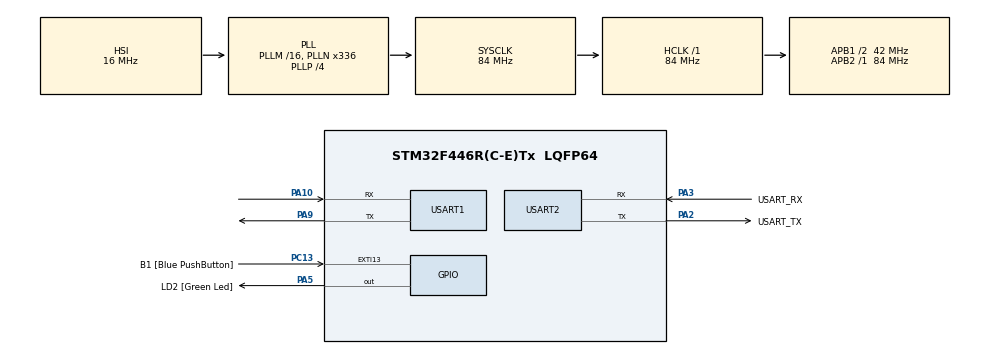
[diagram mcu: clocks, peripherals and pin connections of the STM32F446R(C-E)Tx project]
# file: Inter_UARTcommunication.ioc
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Mcu.Family=STM32F4
Mcu.Name=STM32F446R(C-E)Tx
Mcu.Package=LQFP64
NVIC.PriorityGroup=NVIC_PRIORITYGROUP_0
NVIC.USART1_IRQn=true\:0\:0\:false\:false\:true\:true\:true\:true
NVIC.USART2_IRQn=true\:0\:0\:false\:false\:true\:true\:true\:true
PA10.Mode=Asynchronous
PA10.Signal=USART1_RX
PA13.GPIO_Label=TMS
PA13.Mode=Serial_Wire
PA13.Signal=SYS_JTMS-SWDIO
PA14.GPIO_Label=TCK
PA14.Mode=Serial_Wire
PA14.Signal=SYS_JTCK-SWCLK
PA2.GPIO_Label=USART_TX
PA2.Mode=Asynchronous
PA2.Signal=USART2_TX
PA3.GPIO_Label=USART_RX
PA3.Mode=Asynchronous
PA3.Signal=USART2_RX
PA5.GPIO_Label=LD2 [Green Led]
PA5.Signal=GPIO_Output
PA9.Mode=Asynchronous
PA9.Signal=USART1_TX
PB3.GPIO_Label=SWO
PB3.Signal=SYS_JTDO-SWO
PC13.GPIO_Label=B1 [Blue PushButton]
PC13.GPIO_ModeDefaultEXTI=GPIO_MODE_IT_FALLING
PC13.Signal=GPXTI13
PC14-OSC32_IN.Mode=LSE-External-Oscillator
PC14-OSC32_IN.Signal=RCC_OSC32_IN
PC15-OSC32_OUT.Mode=LSE-External-Oscillator
PC15-OSC32_OUT.Signal=RCC_OSC32_OUT
PH0-OSC_IN.Mode=HSE-External-Oscillator
PH0-OSC_IN.Signal=RCC_OSC_IN
PH1-OSC_OUT.Mode=HSE-External-Oscillator
PH1-OSC_OUT.Signal=RCC_OSC_OUT
ProjectManager.HeapSize=0x200
ProjectManager.StackSize=0x400
ProjectManager.TargetToolchain=STM32CubeIDE
RCC.48MHZClocksFreq_Value=84000000
RCC.AHBFreq_Value=84000000
RCC.APB1CLKDivider=RCC_HCLK_DIV2
RCC.APB1Freq_Value=42000000
RCC.APB1TimFreq_Value=84000000
RCC.APB2Freq_Value=84000000
RCC.APB2TimFreq_Value=84000000
RCC.CortexFreq_Value=84000000
RCC.FLatency-AdvancedSettings=FLASH_LATENCY_2
RCC.HCLKFreq_Value=84000000
RCC.HSE_VALUE=8000000
RCC.HSI_VALUE=16000000
RCC.PLLN=336
RCC.PLLP=RCC_PLLP_DIV4
RCC.SYSCLKFreq_VALUE=84000000
RCC.SYSCLKSource=RCC_SYSCLKSOURCE_PLLCLK
RCC.USBFreq_Value=168000000
RCC.VCOOutputFreq_Value=336000000
USART1.VirtualMode=VM_ASYNC
USART2.VirtualMode=VM_ASYNC
board=NUCLEO-F446RE

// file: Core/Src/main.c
/* USER CODE BEGIN Header */
/**
 ******************************************************************************
 * @file           : main.c
 * @brief          : Main program body
 ******************************************************************************
 * @attention
 *
 * Copyright (c) 2025 STMicroelectronics.
 * All rights reserved.
 *
 * This software is licensed under terms that can be found in the LICENSE file
 * in the root directory of this software component.
 * If no LICENSE file comes with this software, it is provided AS-IS.
 *
 ******************************************************************************
 */
/* USER CODE END Header */
#include "main.h"

UART_HandleTypeDef huart1;
UART_HandleTypeDef huart2;

/* USER CODE BEGIN PV */
uint8_t rxData1;
uint8_t rxData2;
uint8_t rxBuffer1[256]; // Buffer to store received data for USART1
uint16_t rxIndex1 = 0;  // Index for USART1 buffer
uint8_t rxBuffer2[256]; // Buffer to store received data for USART2
uint16_t rxIndex2 = 0;  // Index for USART2 buffer
/* USER CODE END PV */

void SystemClock_Config(void);
static void MX_GPIO_Init(void);
static void MX_USART1_UART_Init(void);
static void MX_USART2_UART_Init(void);

int main(void)
{

  /* MCU Configuration--------------------------------------------------------*/

  /* Reset of all peripherals, Initializes the Flash interface and the Systick. */
  HAL_Init();

  /* Configure the system clock */
  SystemClock_Config();

  /* Initialize all configured peripherals */
  MX_GPIO_Init();
  MX_USART1_UART_Init();
  MX_USART2_UART_Init();
  /* USER CODE BEGIN 2 */
  HAL_UART_Receive_IT(&huart1, &rxData1, 1);
  HAL_UART_Receive_IT(&huart2, &rxData2, 1);
  /* USER CODE END 2 */

  /* Infinite loop */
  while (1)
  {

  }
}

void SystemClock_Config(void)
{
  RCC_OscInitTypeDef RCC_OscInitStruct = {0};
  RCC_ClkInitTypeDef RCC_ClkInitStruct = {0};

  /** Configure the main internal regulator output voltage
   */
  __HAL_RCC_PWR_CLK_ENABLE();
  __HAL_PWR_VOLTAGESCALING_CONFIG(PWR_REGULATOR_VOLTAGE_SCALE3);

  /** Initializes the RCC Oscillators according to the specified parameters
   * in the RCC_OscInitTypeDef structure.
   */
  RCC_OscInitStruct.OscillatorType = RCC_OSCILLATORTYPE_HSI;
  RCC_OscInitStruct.HSIState = RCC_HSI_ON;
  RCC_OscInitStruct.HSICalibrationValue = RCC_HSICALIBRATION_DEFAULT;
  RCC_OscInitStruct.PLL.PLLState = RCC_PLL_ON;
  RCC_OscInitStruct.PLL.PLLSource = RCC_PLLSOURCE_HSI;
  RCC_OscInitStruct.PLL.PLLM = 16;
  RCC_OscInitStruct.PLL.PLLN = 336;
  RCC_OscInitStruct.PLL.PLLP = RCC_PLLP_DIV4;
  RCC_OscInitStruct.PLL.PLLQ = 2;
  RCC_OscInitStruct.PLL.PLLR = 2;
  if (HAL_RCC_OscConfig(&RCC_OscInitStruct) != HAL_OK)
  {
    Error_Handler();
  }

  /** Initializes the CPU, AHB and APB buses clocks
   */
  RCC_ClkInitStruct.ClockType = RCC_CLOCKTYPE_HCLK | RCC_CLOCKTYPE_SYSCLK | RCC_CLOCKTYPE_PCLK1 | RCC_CLOCKTYPE_PCLK2;
  RCC_ClkInitStruct.SYSCLKSource = RCC_SYSCLKSOURCE_PLLCLK;
  RCC_ClkInitStruct.AHBCLKDivider = RCC_SYSCLK_DIV1;
  RCC_ClkInitStruct.APB1CLKDivider = RCC_HCLK_DIV2;
  RCC_ClkInitStruct.APB2CLKDivider = RCC_HCLK_DIV1;

  if (HAL_RCC_ClockConfig(&RCC_ClkInitStruct, FLASH_LATENCY_2) != HAL_OK)
  {
    Error_Handler();
  }
}

static void MX_USART1_UART_Init(void)
{

  huart1.Instance = USART1;
  huart1.Init.BaudRate = 115200;
  huart1.Init.WordLength = UART_WORDLENGTH_8B;
  huart1.Init.StopBits = UART_STOPBITS_1;
  huart1.Init.Parity = UART_PARITY_NONE;
  huart1.Init.Mode = UART_MODE_TX_RX;
  huart1.Init.HwFlowCtl = UART_HWCONTROL_NONE;
  huart1.Init.OverSampling = UART_OVERSAMPLING_16;
  if (HAL_UART_Init(&huart1) != HAL_OK)
  {
    Error_Handler();
  }
}

static void MX_USART2_UART_Init(void)
{

  huart2.Instance = USART2;
  huart2.Init.BaudRate = 115200;
  huart2.Init.WordLength = UART_WORDLENGTH_8B;
  huart2.Init.StopBits = UART_STOPBITS_1;
  huart2.Init.Parity = UART_PARITY_NONE;
  huart2.Init.Mode = UART_MODE_TX_RX;
  huart2.Init.HwFlowCtl = UART_HWCONTROL_NONE;
  huart2.Init.OverSampling = UART_OVERSAMPLING_16;
  if (HAL_UART_Init(&huart2) != HAL_OK)
  {
    Error_Handler();
  }
}

static void MX_GPIO_Init(void)
{
  GPIO_InitTypeDef GPIO_InitStruct = {0};

  /* GPIO Ports Clock Enable */
  __HAL_RCC_GPIOC_CLK_ENABLE();
  __HAL_RCC_GPIOH_CLK_ENABLE();
  __HAL_RCC_GPIOA_CLK_ENABLE();
  __HAL_RCC_GPIOB_CLK_ENABLE();

  /*Configure GPIO pin Output Level */
  HAL_GPIO_WritePin(LD2_GPIO_Port, LD2_Pin, GPIO_PIN_RESET);

  /*Configure GPIO pin : B1_Pin */
  GPIO_InitStruct.Pin = B1_Pin;
  GPIO_InitStruct.Mode = GPIO_MODE_IT_FALLING;
  GPIO_InitStruct.Pull = GPIO_NOPULL;
  HAL_GPIO_Init(B1_GPIO_Port, &GPIO_InitStruct);

  /*Configure GPIO pin : LD2_Pin */
  GPIO_InitStruct.Pin = LD2_Pin;
  GPIO_InitStruct.Mode = GPIO_MODE_OUTPUT_PP;
  GPIO_InitStruct.Pull = GPIO_NOPULL;
  GPIO_InitStruct.Speed = GPIO_SPEED_FREQ_LOW;
  HAL_GPIO_Init(LD2_GPIO_Port, &GPIO_InitStruct);

}

/* USER CODE BEGIN 4 */
void HAL_UART_RxCpltCallback(UART_HandleTypeDef *huart)
{
  if(huart->Instance == USART1) // if the interrupt source is USART1
  {
    // Add received data to buffer
    if (rxIndex1 < sizeof(rxBuffer1) - 1) { // Prevent buffer overflow
      rxBuffer1[rxIndex1++] = rxData1;
    }

    // Check for \r\n sequence
    if (rxIndex1 >= 2 && rxBuffer1[rxIndex1 - 2] == '\r' && rxBuffer1[rxIndex1 - 1] == '\n') {
      // Transmit the entire buffer to USART2
      HAL_UART_Transmit(&huart2, rxBuffer1, rxIndex1, 100);
      // Reset buffer index for next message
      rxIndex1 = 0;
    }

    // Continue receiving
    HAL_UART_Receive_IT(&huart1, &rxData1, 1);
  }
  else if(huart->Instance == USART2) // if the interrupt source is USART2
  {
    // Add received data to buffer
    if (rxIndex2 < sizeof(rxBuffer2) - 1) { // Prevent buffer overflow
      rxBuffer2[rxIndex2++] = rxData2;
    }

    // Check for \r\n sequence
    if (rxIndex2 >= 2 && rxBuffer2[rxIndex2 - 2] == '\r' && rxBuffer2[rxIndex2 - 1] == '\n') {
      // Transmit the entire buffer to USART1
      HAL_UART_Transmit(&huart1, rxBuffer2, rxIndex2, 100);
      // Reset buffer index for next message
      rxIndex2 = 0;
    }

    // Continue receiving
    HAL_UART_Receive_IT(&huart2, &rxData2, 1);
  }
}
/* USER CODE END 4 */

void Error_Handler(void)
{
  __disable_irq();
  while (1)
  {
  }
}
